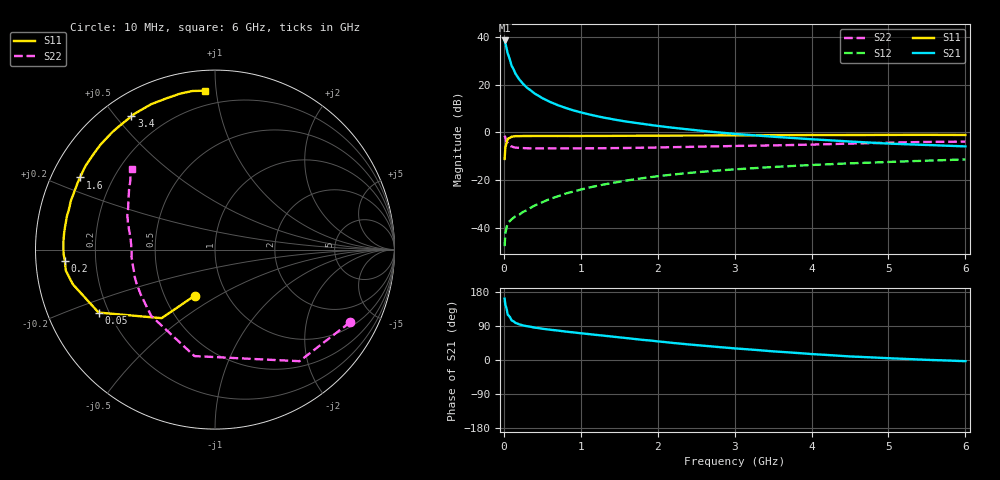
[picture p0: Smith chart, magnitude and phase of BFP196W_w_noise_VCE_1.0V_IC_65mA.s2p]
! (c) 2017  Infineon Technologies AG, Munich
! Infineon Technologies  Discrete & RF Semiconductors
! BFP196W
! VCE =  1.0 V,  IC =  65 mA
! Common Emitter S-Parameters:  Jan 2017
# GHz  S  MA  R  50
!  f  S11  S21  S12  S22
! GHz  MAG  ANG  MAG  ANG  MAG  ANG  MAG  ANG
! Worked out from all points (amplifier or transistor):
!   77 points, 10 MHz to 6 GHz, reference 50 ohm
!   highest |S21| = 38.5 dB at 10 MHz (marker M1)
!   |S21| within 3 dB of that: start of sweep to 33.14 MHz
!   unconditionally stable (mu >= 1): 467.7 MHz to 3.979 GHz; 4.025 GHz to 5.224 GHz; 5.742 GHz to end of sweep
!   at 130 MHz: K = 0.55, MSG = 30.8 dB, |S12| = -35.5 dB
!   at 2.2 GHz: K = 1.05, MAG = 8.4 dB, |S12| = -17.6 dB
!   at 6 GHz: K = 1.01, MAG = 2.2 dB, |S12| = -11.3 dB
!   lowest NFmin = 1.51 dB at 450 MHz
!   S11 on the Smith chart (normalised r, x): 10 MHz: 0.71, -0.39; 50 MHz: 0.16, -0.25; 200 MHz: 0.09, -0.04; 1.6 GHz: 0.08, +0.25; 3.4 GHz: 0.09, +0.55; 6 GHz: 0.11, +0.93
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0.01  0.2802 -113.7  83.96 161.8  0.0042 73.4  0.8546 -28.3
0.02  0.484 -127.9  73.17 145.7  0.0079 62.2  0.7796 -52.9
0.05  0.7374 -151.6  45.02 119.8  0.0127 42.3  0.6041 -100.9
0.1  0.8153 -166.3  25.07 104.6  0.0152 39.8  0.5125 -133.9
0.15  0.8395 -172.0  17.13 98.2  0.0177 42.0  0.4838 -148.6
0.2  0.8389 -175.8  12.92 94.2  0.0191 48.4  0.4766 -156.3
0.25  0.8439 -178.3  10.38 91.2  0.0218 50.0  0.4724 -161.3
0.3  0.8445 179.7  8.65 89.2  0.0238 53.3  0.4677 -164.9
0.4  0.8458 176.5  6.518 85.5  0.0297 58.4  0.466 -169.5
0.5  0.8455 173.9  5.218 82.6  0.0348 61.8  0.4654 -172.6
0.6  0.8453 171.7  4.363 80.0  0.0409 62.3  0.4672 -174.9
0.7  0.8449 169.4  3.738 77.7  0.0462 64.0  0.4651 -176.9
0.9  0.844 165.2  2.912 72.9  0.058 65.2  0.4663 -179.5
1.1  0.848 161.4  2.406 68.5  0.0702 64.7  0.4674 177.9
1.3  0.8478 157.5  2.046 64.2  0.0817 63.4  0.4693 175.7
1.6  0.853 151.9  1.686 57.7  0.0992 61.3  0.4741 172.4
2.1  0.86 142.7  1.313 47.2  0.1269 56.6  0.4899 167.4
3.1  0.8711 126.5  0.911 29.2  0.1733 46.2  0.526 158.0
3.4  0.8766 122.1  0.839 24.5  0.1858 43.4  0.5342 155.1
4.1  0.8841 112.4  0.707 14.5  0.2125 36.9  0.5636 148.7
5.1  0.8904 101.7  0.578 3.9  0.2451 28.5  0.6156 140.0
6  0.8868 93.6  0.512 -3.1  0.2733 21.3  0.6438 135.6
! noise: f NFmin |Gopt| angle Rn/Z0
0.45  1.51  0.53  -175  0.06
0.9  1.64  0.57  -170  0.07
1.9  2.49  0.7  -148  0.18
2.4  2.88  0.74  -144  0.28
